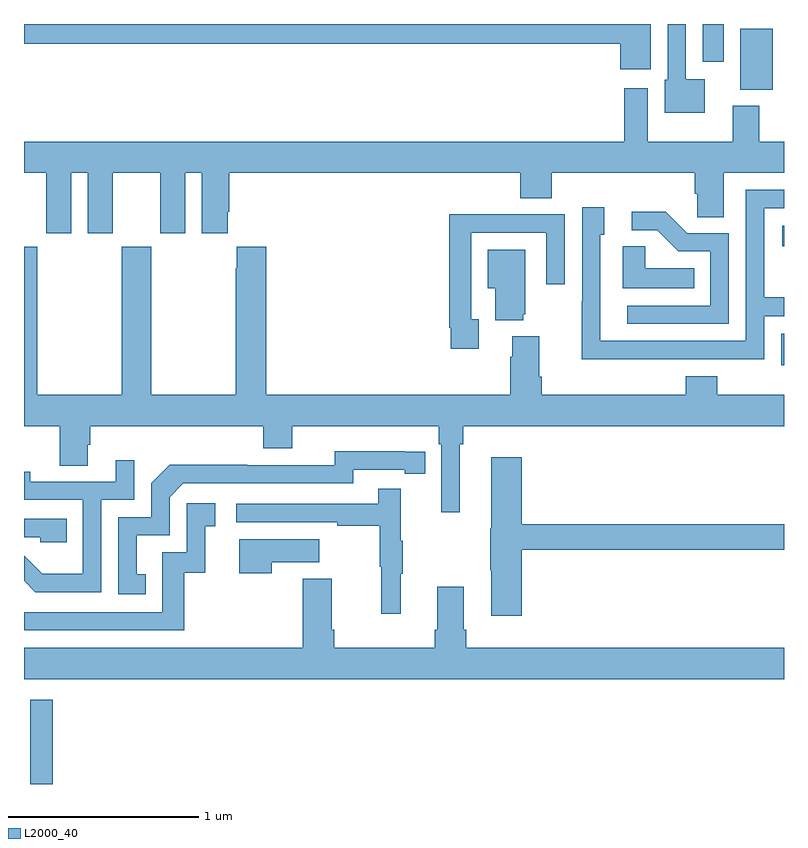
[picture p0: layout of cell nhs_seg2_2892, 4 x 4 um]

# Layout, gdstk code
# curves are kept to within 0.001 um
import gdstk
lib = gdstk.Library(unit=1e-6, precision=1e-09)
def R(c, l, rs):  # rectangles x0, y0, x1, y1
    for r in rs: c.add(gdstk.rectangle(r[:2], r[2:], *l))
def P(c, l, *ps):  # polygons
    for p in ps: c.add(gdstk.Polygon(p, *l))
L2000_40 = (2000, 40)

nhs_seg2_2892 = lib.new_cell('nhs_seg2_2892')
R(nhs_seg2_2892, L2000_40, [(263.034,597.8,263.15,598.243), (266.985,600.003,267,600.171), (266.991,600.629,267,600.739), (266.771,601.454,266.941,601.774), (266.573,601.602,266.683,601.8)])
P(nhs_seg2_2892, L2000_40, [(266.584,601.51),(266.484,601.51),(266.484,601.8),(266.388,601.8),(266.388,601.506),(266.372,601.506),(266.372,601.334),(266.584,601.334)],
  [(266.299,601.8),(263,601.8),(263,601.696),(266.138,601.696),(266.138,601.563),(266.299,601.563)],
  [(266.729,601.369),(266.729,601.18),(266.284,601.18),(266.284,601.462),(266.159,601.462),(266.159,601.18),(263,601.18),(263,601.016),(263.117,601.016),(263.117,600.699),(263.248,600.699),(263.248,601.016),(263.336,601.016),(263.336,600.699),(263.467,600.699),(263.467,601.016),(263.717,601.016),(263.717,600.699),(263.848,600.699),(263.848,601.016),(263.936,601.016),(263.936,600.699),(264.073,600.699),(264.073,600.811),(264.08,600.811),(264.08,601.016),(265.613,601.016),(265.613,600.883),(265.778,600.883),(265.778,601.016),(266.531,601.016),(266.531,600.907),(266.544,600.907),(266.544,600.784),(266.683,600.784),(266.683,601.016),(267,601.016),(267,601.18),(266.869,601.18),(266.869,601.369)],
  [(266.399,600.036),(266.895,600.036),(266.895,600.261),(267,600.261),(267,600.362),(266.895,600.362),(266.895,600.831),(267,600.831),(267,600.927),(266.799,600.927),(266.799,600.132),(266.034,600.132),(266.034,600.69),(266.053,600.69),(266.053,600.835),(265.938,600.835),(265.938,600.341),(265.936,600.341),(265.936,600.035),(266.399,600.035)],
  [(266.709,600.699),(266.49,600.699),(266.377,600.812),(266.199,600.812),(266.199,600.714),(266.333,600.714),(266.444,600.603),(266.613,600.603),(266.613,600.318),(266.175,600.318),(266.175,600.222),(266.709,600.222)],
  [(265.393,600.246),(265.353,600.246),(265.353,600.702),(265.749,600.702),(265.749,600.429),(265.845,600.429),(265.845,600.798),(265.529,600.798),(265.529,600.8),(265.237,600.8),(265.237,600.202),(265.245,600.202),(265.245,600.09),(265.393,600.09)],
  [(266.528,600.514),(266.271,600.514),(266.271,600.629),(266.15,600.629),(266.15,600.41),(266.528,600.41)],
  [(265.294,599.588),(265.313,599.588),(265.313,599.684),(267,599.684),(267,599.848),(266.648,599.848),(266.648,599.947),(266.483,599.947),(266.483,599.848),(265.724,599.848),(265.724,599.944),(265.711,599.944),(265.711,600.157),(265.571,600.157),(265.571,600.05),(265.559,600.05),(265.559,599.848),(264.275,599.848),(264.275,600.628),(264.119,600.628),(264.119,600.515),(264.115,600.515),(264.115,599.848),(263.67,599.848),(263.67,600.628),(263.515,600.628),(263.515,599.848),(263.07,599.848),(263.07,600.628),(263,600.628),(263,599.684),(263.188,599.684),(263.188,599.476),(263.335,599.476),(263.335,599.586),(263.348,599.586),(263.348,599.684),(264.26,599.684),(264.26,599.567),(264.412,599.567),(264.412,599.684),(265.184,599.684),(265.184,599.588),(265.197,599.588),(265.197,599.229),(265.294,599.229)],
  [(265.628,600.273),(265.639,600.273),(265.639,600.613),(265.442,600.613),(265.442,600.41),(265.481,600.41),(265.481,600.242),(265.628,600.242)],
  [(263.642,598.905),(263.593,598.905),(263.593,599.109),(263.766,599.109),(263.766,599.31),(263.838,599.382),(264.732,599.382),(264.732,599.454),(265.004,599.454),(265.004,599.434),(265.112,599.434),(265.112,599.55),(264.636,599.551),(264.636,599.478),(264.176,599.478),(264.176,599.48),(263.768,599.48),(263.67,599.382),(263.67,599.205),(263.496,599.205),(263.496,598.8),(263.642,598.8)],
  [(265.619,599.032),(267,599.032),(267,599.168),(265.619,599.168),(265.619,599.521),(265.46,599.521),(265.46,599.145),(265.453,599.145),(265.453,598.924),(265.46,598.924),(265.46,598.686),(265.619,598.686)],
  [(263.406,599.295),(263.58,599.295),(263.58,599.503),(263.483,599.503),(263.483,599.391),(263.032,599.391),(263.032,599.443),(263,599.443),(263,599.295),(263.31,599.295),(263.31,598.906),(263.096,598.906),(263,599.002),(263,598.869),(263.06,598.809),(263.406,598.809)],
  [(264.983,598.907),(264.994,598.907),(264.994,599.081),(264.983,599.081),(264.983,599.353),(264.865,599.353),(264.865,599.274),(264.117,599.274),(264.117,599.178),(264.649,599.178),(264.649,599.158),(264.873,599.158),(264.873,598.944),(264.88,598.944),(264.88,598.695),(264.983,598.695)],
  [(263.843,598.911),(263.954,598.911),(263.954,599.157),(264.007,599.157),(264.007,599.278),(263.856,599.278),(263.856,599.019),(263.727,599.019),(263.727,598.704),(263,598.704),(263,598.608),(263.843,598.608)],
  [(263.225,599.196),(263,599.196),(263,599.1),(263.085,599.1),(263.085,599.073),(263.225,599.073)],
  [(264.305,598.967),(264.553,598.967),(264.553,599.089),(264.134,599.089),(264.134,598.908),(264.305,598.908)],
  [(267,598.516),(265.328,598.516),(265.328,598.612),(265.315,598.612),(265.315,598.837),(265.175,598.837),(265.175,598.612),(265.163,598.612),(265.163,598.516),(264.632,598.516),(264.632,598.612),(264.619,598.612),(264.619,598.879),(264.467,598.879),(264.467,598.516),(263,598.516),(263,598.352),(267,598.352)])

lib.write_gds('nhs_seg2_2892.gds')
